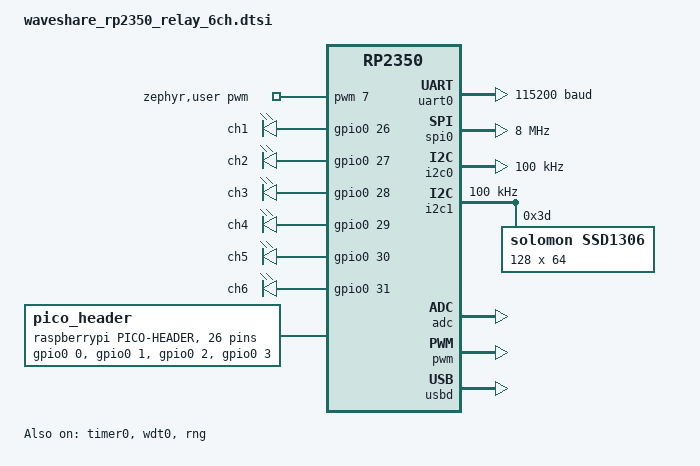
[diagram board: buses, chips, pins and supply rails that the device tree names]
/*
 * SPDX-License-Identifier: Apache-2.0
 *
 * This board definition follows Zephyr's Raspberry Pi Pico 2 W board as the
 * base reference, then changes the SoC include to RP2350B and maps the
 * Waveshare RP2350-Relay-6CH pin assignments.
 */

#include <freq.h>

#include <zephyr/dt-bindings/i2c/i2c.h>
#include <zephyr/dt-bindings/input/input-event-codes.h>
#include <zephyr/dt-bindings/led/led.h>
#include <zephyr/dt-bindings/pwm/pwm.h>

#include "waveshare_rp2350_relay_6ch-pinctrl.dtsi"

/ {
	chosen {
		zephyr,sram = &sram0;
		zephyr,flash = &flash0;
		zephyr,flash-controller = &qmi;
		zephyr,console = &uart0;
		zephyr,shell-uart = &uart0;
		zephyr,display = &ssd1306;
	};

	aliases {
		watchdog0 = &wdt0;
		led-strip = &rgb_led;
	};

	zephyr,user {
		pwms = <&pwm 7 PWM_USEC(1000) PWM_POLARITY_NORMAL>;
	};

	relays {
		compatible = "gpio-leds";

		ch1 {
			gpios = <&gpio0 26 GPIO_ACTIVE_HIGH>;
		};

		ch2 {
			gpios = <&gpio0 27 GPIO_ACTIVE_HIGH>;
		};

		ch3 {
			gpios = <&gpio0 28 GPIO_ACTIVE_HIGH>;
		};

		ch4 {
			gpios = <&gpio0 29 GPIO_ACTIVE_HIGH>;
		};

		ch5 {
			gpios = <&gpio0 30 GPIO_ACTIVE_HIGH>;
		};

		ch6 {
			gpios = <&gpio0 31 GPIO_ACTIVE_HIGH>;
		};
	};

	pico_header: connector {
		compatible = "raspberrypi,pico-header";
		#gpio-cells = <2>;
		gpio-map-mask = <0xffffffff 0xffffffc0>;
		gpio-map-pass-thru = <0 0x3f>;
		gpio-map = <0 0 &gpio0 0 0>,	/* GP0 */
			   <1 0 &gpio0 1 0>,	/* GP1 */
			   <2 0 &gpio0 2 0>,	/* GP2 */
			   <3 0 &gpio0 3 0>,	/* GP3 */
			   <4 0 &gpio0 4 0>,	/* GP4 */
			   <5 0 &gpio0 5 0>,	/* GP5 */
			   <6 0 &gpio0 6 0>,	/* GP6 */
			   <7 0 &gpio0 7 0>,	/* GP7 */
			   <8 0 &gpio0 8 0>,	/* GP8 */
			   <9 0 &gpio0 9 0>,	/* GP9 */
			   <10 0 &gpio0 10 0>,	/* GP10 */
			   <11 0 &gpio0 11 0>,	/* GP11 */
			   <12 0 &gpio0 12 0>,	/* GP12 */
			   <13 0 &gpio0 13 0>,	/* GP13 */
			   <14 0 &gpio0 14 0>,	/* GP14 */
			   <15 0 &gpio0 15 0>,	/* GP15 */
			   <16 0 &gpio0 16 0>,	/* GP16 */
			   <17 0 &gpio0 17 0>,	/* GP17 */
			   <18 0 &gpio0 18 0>,	/* GP18 */
			   <19 0 &gpio0 19 0>,	/* GP19 */
			   <20 0 &gpio0 20 0>,	/* GP20 */
			   <21 0 &gpio0 21 0>,	/* GP21 */
			   <22 0 &gpio0 22 0>,	/* GP22 */
			   <26 0 &gpio0_hi 8 0>,	/* GP40 / ADC0 */
			   <27 0 &gpio0_hi 9 0>,	/* GP41 / ADC1 */
			   <28 0 &gpio0_hi 10 0>;	/* GP42 / ADC2 */
	};
};

&flash0 {
	reg = <0x10000000 DT_SIZE_M(16)>;
};

&uart0 {
	current-speed = <115200>;
	pinctrl-0 = <&uart0_default>;
	pinctrl-names = "default";
	status = "okay";
};

&uart1 {
	current-speed = <115200>;
	pinctrl-0 = <&uart1_default>;
	pinctrl-names = "default";
	status = "disabled";
};

gpio0_lo: &gpio0 {
	status = "okay";
};

/*
 * gpio1 is a board-local label for RP2350B's high GPIO bank. For gpio0_hi,
 * offset N maps to physical GPIO number GP(32 + N).
 */
gpio1: &gpio0_hi {
	status = "okay";
};

&spi0 {
	clock-frequency = <DT_FREQ_M(8)>;
	pinctrl-0 = <&spi0_default>;
	pinctrl-names = "default";
};

&i2c0 {
	clock-frequency = <I2C_BITRATE_STANDARD>;
	pinctrl-0 = <&i2c0_default>;
	pinctrl-names = "default";
	status = "okay";
};

&i2c1 {
	clock-frequency = <I2C_BITRATE_STANDARD>;
	pinctrl-0 = <&i2c1_default>;
	pinctrl-names = "default";
	status = "okay";

	ssd1306: ssd1306@3d {
		compatible = "solomon,ssd1306";
		reg = <0x3d>;
		width = <128>;
		height = <64>;
		segment-offset = <0>;
		page-offset = <0>;
		display-offset = <0>;
		multiplex-ratio = <63>;
		segment-remap;
		com-invdir;
		prechargep = <0x22>;
		softreset-on;
	};
};

&adc {
	pinctrl-0 = <&adc_default>;
	pinctrl-names = "default";
	status = "okay";
};

&pwm {
	pinctrl-0 = <&pwm_buzzer_default>;
	pinctrl-names = "default";
	status = "okay";
};

&pio1 {
	status = "okay";

	pio1_ws2812 {
		compatible = "rp2350-relay-6ch,waveshare-ws2812-pio";
		pinctrl-0 = <&ws2812_pio1_default>;
		pinctrl-names = "default";
		bit-waveform = <3>, <3>, <4>;
		status = "okay";

		rgb_led: rgb_led {
			/* RGB_CTRL: GP36, gpio0_hi offset 4. */
			gpios = <&gpio0_hi 4 GPIO_ACTIVE_HIGH>;
			chain-length = <1>;
			color-mapping = <LED_COLOR_ID_RED LED_COLOR_ID_GREEN LED_COLOR_ID_BLUE>;
			reset-delay = <280>;
			frequency = <DT_FREQ_K(800)>;
			status = "okay";
		};
	};
};

&timer0 {
	status = "okay";
};

&wdt0 {
	status = "okay";
};

&rng {
	status = "okay";
};

zephyr_udc0: &usbd {
	status = "okay";
};

pico_spi: &spi0 {};

pico_spi0: &spi0 {};

pico_i2c: &i2c0 {};

pico_i2c0: &i2c0 {};

pico_i2c1: &i2c1 {};

pico_serial: &uart0 {};

pico_serial0: &uart0 {};
